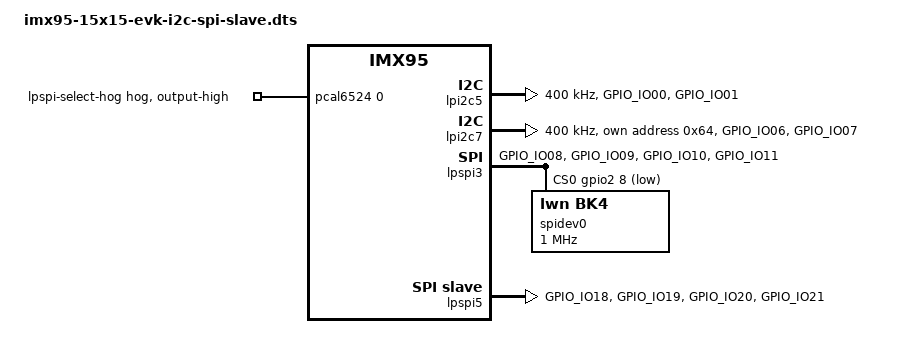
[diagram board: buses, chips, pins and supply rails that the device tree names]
// SPDX-License-Identifier: (GPL-2.0+ OR MIT)
/*
 * Copyright 2024 NXP
 */

#include "imx95-15x15-evk.dts"
#include <dt-bindings/i2c/i2c.h>
/*
 * There is a pad conflict on sai3 and lpspi5 so it should be disabled.
 * And sound-wm8962 relies on sai3 so it should be disabled.
 * There is a pad conflict on lpuart7 and lpspi3 so it should be disabled.
 * Because of the 4-channel analog switch, flexcan2 pad can not be switched
 * when pinctrl-assert-gpios is asserted as HIGH. So it should be disabled.
 */

/{
	sound-wm8962 {
		status = "disabled";
	};
};

&sai3 {
	status = "disabled";
};

&flexcan2 {
	status = "disabled";
};

&lpuart7 {
	status = "disabled";
};

/*
 * lpspi3 PCS0 pad conflicts with TPM. So we have to disable it and
 * leave the GPIO_IO08 pad for lpspi3. Importantly, because of the
 * board design, we need to switch SW10 to choose GPIO_IO08 and
 * disable TMP in the same time.
 */
&tpm6 {
	status = "disabled";
};

&pcal6524 {
	lpspi-select-hog {
		gpio-hog;
		gpios = <0 GPIO_ACTIVE_HIGH>;
		output-high;
	};
};

/* lpi2c7 work as a lpi2c master bus */
&lpi2c5 {
	clock-frequency = <400000>;
	pinctrl-names = "default";
	pinctrl-0 = <&pinctrl_lpi2c5>;
	status = "okay";
};

/*
 * lpi2c7 work as a lpi2c slave bus.
 * The simulated 256 bytes-size slave-eeprom is instantiated
 * at 7 bit address 0x64 on lpi2c6.
 */
&lpi2c7 {
	clock-frequency = <400000>;
	pinctrl-names = "default";
	pinctrl-0 = <&pinctrl_lpi2c7>;
	status = "okay";

	eeprom@64 {
		compatible = "linux,slave-24c02";
		reg = <(0x64 | I2C_OWN_SLAVE_ADDRESS)>;
	};
};

/* lpspi3 work as a master bus */
&lpspi3 {
	fsl,spi-num-chipselects = <1>;
	pinctrl-names = "default";
	pinctrl-0 = <&pinctrl_lpspi3>;
	cs-gpios = <&gpio2 8 GPIO_ACTIVE_LOW>;
	status = "okay";

	spidev0: spi@0 {
		reg = <0>;
		compatible = "lwn,bk4";
		spi-max-frequency = <1000000>;
	};
};

/* lpspi5 work as a slave bus */
&lpspi5 {
	#address-cells = <0>;
	fsl,spi-num-chipselects = <1>;
	pinctrl-names = "default";
	pinctrl-0 = <&pinctrl_lpspi5>;
	status = "okay";

	spi-slave;

	slave {
		compatible = "lwn,bk4";
		spi-max-frequency = <1000000>;
	};
};

&scmi_iomuxc {
	pinctrl_lpi2c5: lpi2c5grp {
		fsl,pins = <
			IMX95_PAD_GPIO_IO00__LPI2C5_SDA			0x40000b9e
			IMX95_PAD_GPIO_IO01__LPI2C5_SCL			0x40000b9e
		>;
	};

	pinctrl_lpi2c7: lpi2c7grp {
		fsl,pins = <
			IMX95_PAD_GPIO_IO06__LPI2C7_SDA			0x40000b9e
			IMX95_PAD_GPIO_IO07__LPI2C7_SCL			0x40000b9e
		>;
	};

	pinctrl_lpspi3: lpspi3grp {
		fsl,pins = <
			IMX95_PAD_GPIO_IO08__GPIO2_IO_BIT8	0x3fe
			IMX95_PAD_GPIO_IO09__LPSPI3_SIN		0x3fe
			IMX95_PAD_GPIO_IO10__LPSPI3_SOUT	0x3fe
			IMX95_PAD_GPIO_IO11__LPSPI3_SCK		0x3fe
		>;
	};

	pinctrl_lpspi5: lpspi5grp {
		fsl,pins = <
			IMX95_PAD_GPIO_IO18__LPSPI5_PCS0	0x3fe
			IMX95_PAD_GPIO_IO19__LPSPI5_SIN		0x3fe
			IMX95_PAD_GPIO_IO20__LPSPI5_SOUT	0x3fe
			IMX95_PAD_GPIO_IO21__LPSPI5_SCK		0x3fe
		>;
	};
};
